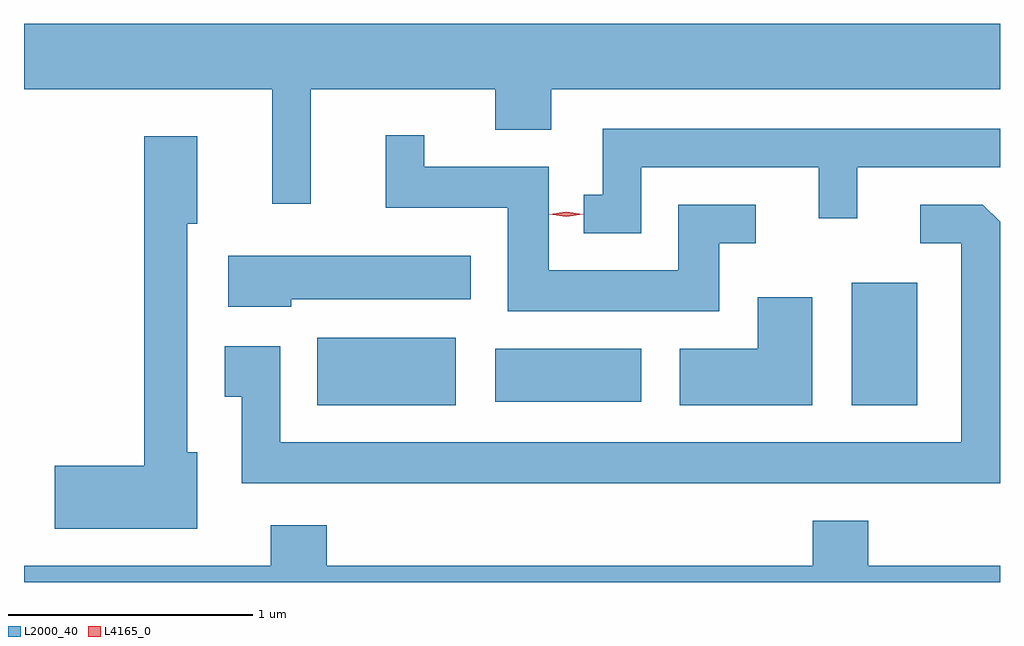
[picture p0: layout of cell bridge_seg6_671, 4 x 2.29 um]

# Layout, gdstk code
import gdstk
lib = gdstk.Library(unit=1e-6, precision=1e-09)
def R(c, l, rs):  # rectangles x0, y0, x1, y1
    for r in rs: c.add(gdstk.rectangle(r[:2], r[2:], *l))
def P(c, l, *ps):  # polygons
    for p in ps: c.add(gdstk.Polygon(p, *l))
L2000_40 = (2000, 40)
L4165_0 = (4165, 0)

bridge_seg6_671 = lib.new_cell('bridge_seg6_671')
R(bridge_seg6_671, L2000_40, [(308.131,1553.181,308.699,1553.459), (310.321,1553.181,310.589,1553.684), (308.861,1553.196,309.459,1553.414)])
P(bridge_seg6_671, L2000_40, [(308.104,1554.476),(308.861,1554.476),(308.861,1554.311),(309.089,1554.311),(309.089,1554.476),(310.929,1554.476),(310.929,1554.744),(306.929,1554.744),(306.929,1554.476),(307.946,1554.476),(307.946,1554.008),(308.104,1554.008)],
  [(309.459,1554.156),(310.186,1554.156),(310.186,1553.948),(310.344,1553.948),(310.344,1554.156),(310.929,1554.156),(310.929,1554.314),(309.301,1554.314),(309.301,1554.044),(309.223,1554.044),(309.223,1553.886),(309.459,1553.886)],
  [(309.779,1553.846),(309.928,1553.846),(309.928,1554.004),(309.611,1554.004),(309.611,1553.734),(309.079,1553.734),(309.079,1554.159),(308.569,1554.159),(308.569,1554.288),(308.411,1554.288),(308.411,1553.991),(308.911,1553.991),(308.911,1553.566),(309.779,1553.566)],
  [(307.639,1552.989),(307.599,1552.989),(307.599,1553.926),(307.639,1553.926),(307.639,1554.284),(307.421,1554.284),(307.421,1552.934),(307.056,1552.934),(307.056,1552.676),(307.639,1552.676)],
  [(310.929,1553.934),(310.859,1554.004),(310.603,1554.004),(310.603,1553.846),(310.771,1553.846),(310.771,1553.029),(307.979,1553.029),(307.979,1553.424),(307.751,1553.424),(307.751,1553.216),(307.821,1553.216),(307.821,1552.861),(310.929,1552.861)],
  [(308.024,1553.616),(308.759,1553.616),(308.759,1553.794),(307.766,1553.794),(307.766,1553.586),(308.024,1553.586)],
  [(310.159,1553.624),(309.936,1553.624),(309.936,1553.414),(309.616,1553.414),(309.616,1553.181),(310.159,1553.181)],
  [(310.929,1552.524),(310.389,1552.524),(310.389,1552.709),(310.161,1552.709),(310.161,1552.524),(308.169,1552.524),(308.169,1552.689),(307.941,1552.689),(307.941,1552.524),(306.929,1552.524),(306.929,1552.457),(310.929,1552.457)])
P(bridge_seg6_671, L4165_0, [(309.151,1553.954),(309.082,1553.964),(309.082,1553.964),(309.082,1553.964),(309.151,1553.974),(309.221,1553.965),(309.221,1553.965),(309.221,1553.964)])

lib.write_gds('bridge_seg6_671.gds')
